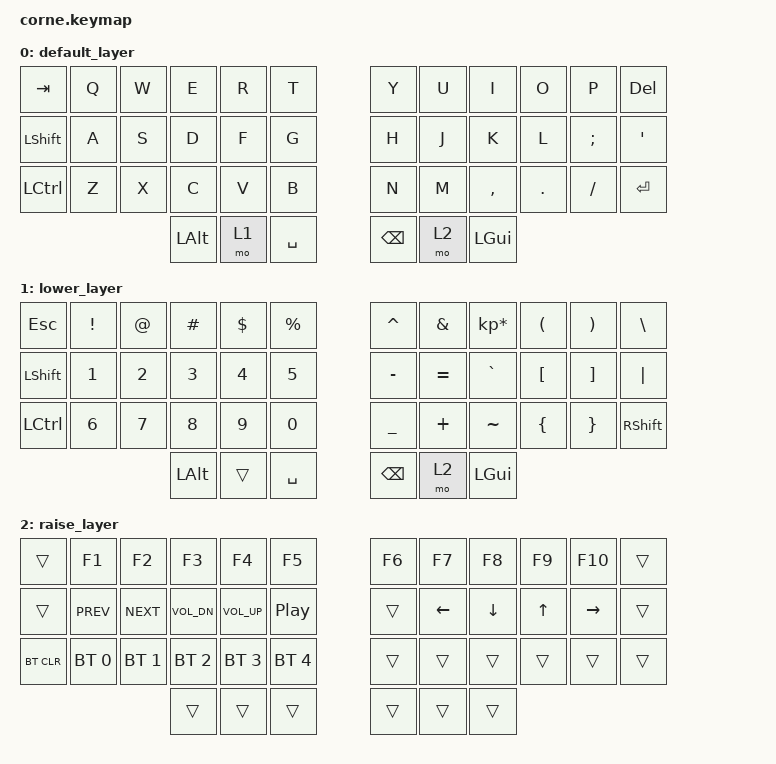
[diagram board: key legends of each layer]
/*
 * Copyright (c) 2020 The ZMK Contributors
 *
 * SPDX-License-Identifier: MIT
 */

#include <behaviors.dtsi>
#include <dt-bindings/zmk/keys.h>
#include <dt-bindings/zmk/bt.h>

/ {
        keymap {
                compatible = "zmk,keymap";

                default_layer {
// -----------------------------------------------------------------------------------------
// |  TAB |  Q  |  W  |  E  |  R  |  T  |   |  Y  |  U   |  I  |  O  |  P  |  DEL  |
// | SHFT |  A  |  S  |  D  |  F  |  G  |   |  H  |  J   |  K  |  L  |  ;  |  '    |
// | CTRL |  Z  |  X  |  C  |  V  |  B  |   |  N  |  M   |  ,  |  .  |  /  | ENT   |
//                    | ALT | LWR | SPC |   | BKSP | RSE  | GUI |
                        bindings = <
   &kp TAB   &kp Q &kp W &kp E &kp R &kp T   &kp Y &kp U  &kp I     &kp O   &kp P    &kp DEL
   &kp LSHFT &kp A &kp S &kp D &kp F &kp G   &kp H &kp J  &kp K     &kp L   &kp SEMI &kp SQT
   &kp LCTRL &kp Z &kp X &kp C &kp V &kp B   &kp N &kp M  &kp COMMA &kp DOT &kp FSLH &kp RET
                  &kp LALT &mo 1 &kp SPACE   &kp BSPC &mo 2 &kp LGUI
                        >;
                };
                lower_layer {
// -----------------------------------------------------------------------------------------
// |  ESC |  !  |  @  |  #  |  $  |    %     |   |  ^  |  &  |  *  |  (  |  )  |   \   |
// | SHFT |  1  |  2  |  3  |  4  |    5     |   |  -  |  =  |  `  |  [  |  ]  |  "|"  |
// | CTRL |  6  |  7  |  8  |  9  |    0     |   |  _  |  +  |  ~  |  {  |  }  | RSHFT |
//                     | ALT |     | SPACE |   | BKSP | RSE |  GUI  |
                        bindings = <
   &kp ESC   &kp EXCL &kp AT &kp HASH &kp DLLR &kp PRCNT   &kp CARET  &kp AMPS  &kp KP_MULTIPLY &kp LPAR &kp RPAR &kp BSLH
   &kp LSHFT &kp N1   &kp N2 &kp N3   &kp N4   &kp N5      &kp MINUS  &kp EQUAL &kp GRAVE       &kp LBKT &kp RBKT &kp PIPE
   &kp LCTRL &kp N6   &kp N7 &kp N8   &kp N9   &kp N0      &kp UNDER  &kp PLUS  &kp TILDE       &kp LBRC &kp RBRC &kp RSHFT
                         &kp LALT &trans  &kp SPACE     &kp BSPC &mo 2 &kp LGUI
                        >;
                };

                raise_layer {
// -----------------------------------------------------------------------------------------
// |       |  F1  |  F2  |  F3  |  F4  |  F5 |            |  F6  |  F7  |  F8  |  F9  |  F10  |   |
// |       | Prev | Next | Vol - | Vol + | Play/Pause |   |      | LFT | DWN |  UP | RGT |     |
// | BTCLR | BT1 | BT2 | BT3 | BT4 | BT5 |   |            |     |     |     |     |     |     |
//                    |     |     |    |                  |     |     |     |
                        bindings = <
   &trans     &kp F1        &kp F2       &kp F3       &kp F4       &kp F5          &kp F6   &kp F7   &kp F8 &kp F9    &kp F10 &trans
   &trans     &kp C_PREV    &kp C_NEXT   &kp C_VOL_DN &kp C_VOL_UP &kp C_PP        &trans   &kp LEFT &kp DOWN &kp UP &kp RIGHT &trans
   &bt BT_CLR &bt BT_SEL 0  &bt BT_SEL 1 &bt BT_SEL 2 &bt BT_SEL 3 &bt BT_SEL 4    &trans   &trans   &trans &trans    &trans &trans
                          	                        &trans   &trans   &trans       &trans   &trans   &trans
                        >;
                };
        };
};
